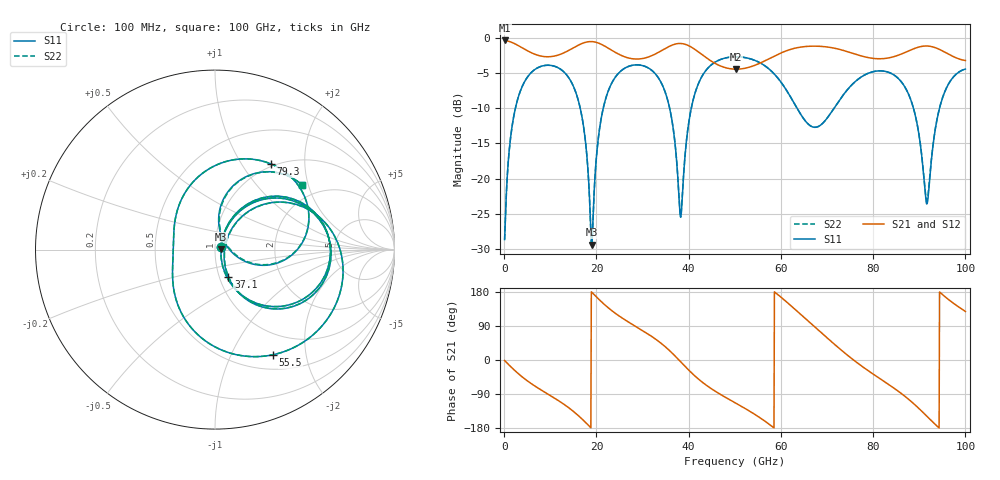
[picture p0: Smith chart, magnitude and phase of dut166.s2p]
! Touchstone file exported from HFSS 2026.1.0
!  File:  C:/ffzhzh/LocalFiles/Ansys_Project_Files/temp_test_TSV_RDL_166_1783466395_50928.aedt
!  Generated:  07:35:08 AM Jul  8, 2026
!  Design:  TSV_RDL
!  Project:  temp_test_TSV_RDL_166_1783466395_50928
! Variables:
!  h_bsmrdl = 2.3um
!  h_ox = 20um
!  h_rdl = 5um
!  h_sub = 57.03um
!  h_tmrdl = 2.17um
!  h_tsv = 57.03um
!  h_via = 3um
!  l_bsmrdl = 594.16um
!  l_sub = 3328.53um
!  l_tmrdl = 263.21um
!  m_sub = 200um
!  pitch = 44.8um
!  r_tsv = 6.63um
!  s_tmrdl = 10um
!  w_bsmrdl = 11.39um
!  w_sub = 500um
!  w_tmrdl = 19.68um
!  x_tsv_center1 = 273.05um
!  x_tsv_center2 = 878.6um
!  x_tsv_center3 = 1161.49um
!  x_tsv_center4 = 1767.04um
!  x_tsv_center5 = 2049.93um
!  x_tsv_center6 = 2655.48um
# GHz S MA R 50.000000
! Terminal data exported
! Port[1] = TM_RDL1_1_T1
! Port[2] = TM_RDL5_1_T1
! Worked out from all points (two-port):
!   1000 points, 100 MHz to 100 GHz, reference 50 ohm
!   highest |S21| = -0.30 dB at 100 MHz (marker M1); lowest = -4.4 dB at 50.3 GHz (marker M2)
!   |S21| within 3 dB of the highest: start of sweep to 45.01 GHz; 56.24 GHz to end of sweep
!   lowest |S11| = -29.4 dB at 19 GHz (marker M3), VSWR 1.07, Z = 53.5 + j0.136 ohm
!   |S11| at or under -10 dB: 16.51 GHz to 21.47 GHz (4.967 GHz wide, 26.2 % of centre); 63.53 GHz to 71.49 GHz (7.952 GHz wide, 11.8 % of centre); 88.75 GHz to 94.38 GHz (5.63 GHz wide, 6.15 % of centre) (the widest 3 of 5)
!   |S22| runs from -29.7 to -2.6 dB; largest |S21 - S12| = 1.7e-13
!   S11 on the Smith chart (normalised r, x): 100 MHz: 1.07, +0.03; 37.1 GHz: 1.10, -0.35; 55.5 GHz: 0.69, -1.46; 79.3 GHz: 0.96, +1.36; 100 GHz: 1.61, +1.82
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0.1  0.03668 22.6  0.9664 -1.3  0.9664 -1.3  0.03668 22.6
! Gamma 0 0 0 0
! Port Impedance 50 0 50 0
1.9  0.257 58.4  0.929 -23.1  0.929 -23.1  0.257 58.4
5.1  0.5321 31.0  0.814 -55.6  0.814 -55.6  0.5321 30.9
10.7  0.6356 -10.1  0.7457 -99.0  0.7457 -99.0  0.6356 -10.1
16.8  0.2836 -60.3  0.917 -154.7  0.917 -154.7  0.2835 -60.4
19  0.03371 2.2  0.9485 178.7  0.9485 178.7  0.0329 2.3
23.1  0.4634 38.1  0.8311 132.5  0.8311 132.5  0.4633 38.3
33.4  0.5251 -37.9  0.793 50.0  0.793 50.0  0.5251 -37.7
37.1  0.1712 -64.1  0.9105 10.0  0.9105 10.0  0.1716 -63.5
38.4  0.05613 12.5  0.9189 -6.4  0.9189 -6.4  0.05787 12.0
42.2  0.4823 32.9  0.796 -51.1  0.796 -51.1  0.4825 32.8
50.1  0.7389 -23.8  0.603 -113.0  0.603 -113.0  0.739 -23.8
50.3  0.739 -25.1  0.6029 -114.4  0.6029 -114.4  0.739 -25.1
55.5  0.6687 -61.2  0.6664 -152.7  0.6664 -152.7  0.6687 -61.2
61.2  0.427 -112.4  0.8158 153.6  0.8158 153.6  0.427 -112.4
66.7  0.2347 -173.1  0.8798 94.2  0.8798 94.2  0.2347 -173.2
72.9  0.3702 114.6  0.8314 28.1  0.8314 28.1  0.3702 114.6
79.3  0.5696 57.1  0.7254 -31.4  0.7254 -31.4  0.5695 57.2
83.4  0.5717 25.8  0.7259 -64.9  0.7259 -64.9  0.5717 26.0
91.6  0.06584 27.2  0.8824 -147.8  0.8824 -147.8  0.06981 27.7
94.9  0.3639 74.7  0.818 174.1  0.818 174.1  0.3649 74.1
100  0.6041 36.7  0.6948 128.3  0.6948 128.3  0.6045 36.5
